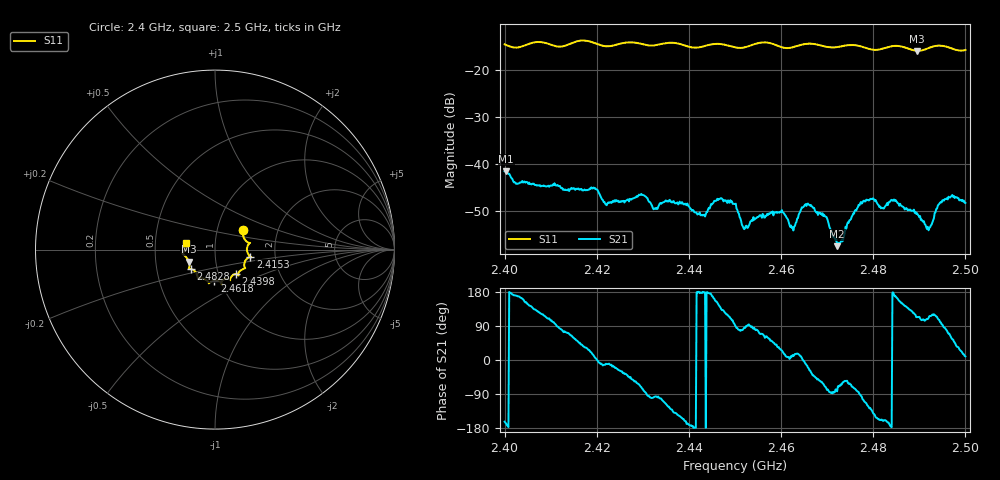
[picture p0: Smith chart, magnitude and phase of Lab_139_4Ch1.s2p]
# Hz S RI R 50
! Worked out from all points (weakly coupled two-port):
!   601 points, 2.4 GHz to 2.5 GHz, reference 50 ohm
!   highest |S21| = -41.53 dB at 2.4003 GHz (marker M1); lowest = -57.5 dB at 2.4722 GHz (marker M2)
!   lowest |S11| = -15.9 dB at 2.4895 GHz (marker M3), VSWR 1.38, Z = 37 - j5.04 ohm
!   |S11| at or under -10 dB: start of sweep to end of sweep
!   S12 and S22 are empty: the file has one direction only
!   S11 on the Smith chart (normalised r, x): 2.4 GHz: 1.33, +0.29; 2.4153 GHz: 1.48, -0.12; 2.4398 GHz: 1.21, -0.34; 2.4618 GHz: 0.94, -0.33; 2.4828 GHz: 0.74, -0.17; 2.5 GHz: 0.72, +0.06
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2.4e9  0.1548 0.1068  -0.00801 -0.00248  0 0  0 0
2.400333e9  0.1547 0.1021  -0.0082 -0.00176  0 0  0 0
2.415333e9  0.1964 -0.0391  0.00301 0.00438  0 0  0 0
2.416667e9  0.2023 -0.0429  0.00411 0.00356  0 0  0 0
2.433333e9  0.13 -0.1342  -0.000382 -0.00348  0 0  0 0
2.439833e9  0.1152 -0.136  -0.00353 -0.000705  0 0  0 0
2.443e9  0.0887 -0.1547  -0.00284 7.39e-06  0 0  0 0
2.446667e9  0.0846 -0.1703  -0.00331 0.00264  0 0  0 0
2.45e9  0.0651 -0.1624  -0.000136 0.00375  0 0  0 0
2.452167e9  0.043 -0.1699  0.000203 0.00206  0 0  0 0
2.459833e9  0.0226 -0.176  0.00272 0.00149  0 0  0 0
2.461833e9  -0.00348 -0.1724  0.00224 0.000113  0 0  0 0
2.466667e9  -0.0347 -0.188  0.00287 -0.00206  0 0  0 0
2.4695e9  -0.0437 -0.1733  0.000959 -0.00261  0 0  0 0
2.472167e9  -0.0719 -0.1605  0.000171 -0.00132  0 0  0 0
2.4775e9  -0.0976 -0.149  -0.000417 -0.00377  0 0  0 0
2.482833e9  -0.136 -0.1086  -0.00346 -0.0012  0 0  0 0
2.483333e9  -0.1397 -0.1084  -0.00379 -0.00101  0 0  0 0
2.4895e9  -0.1461 -0.0664  -0.00117 0.00277  0 0  0 0
2.492e9  -0.1681 -0.0344  -0.000701 0.00184  0 0  0 0
2.495e9  -0.1806 -0.0195  -0.000238 0.0041  0 0  0 0
2.5e9  -0.1594 0.0391  0.0038 0.000626  0 0  0 0
